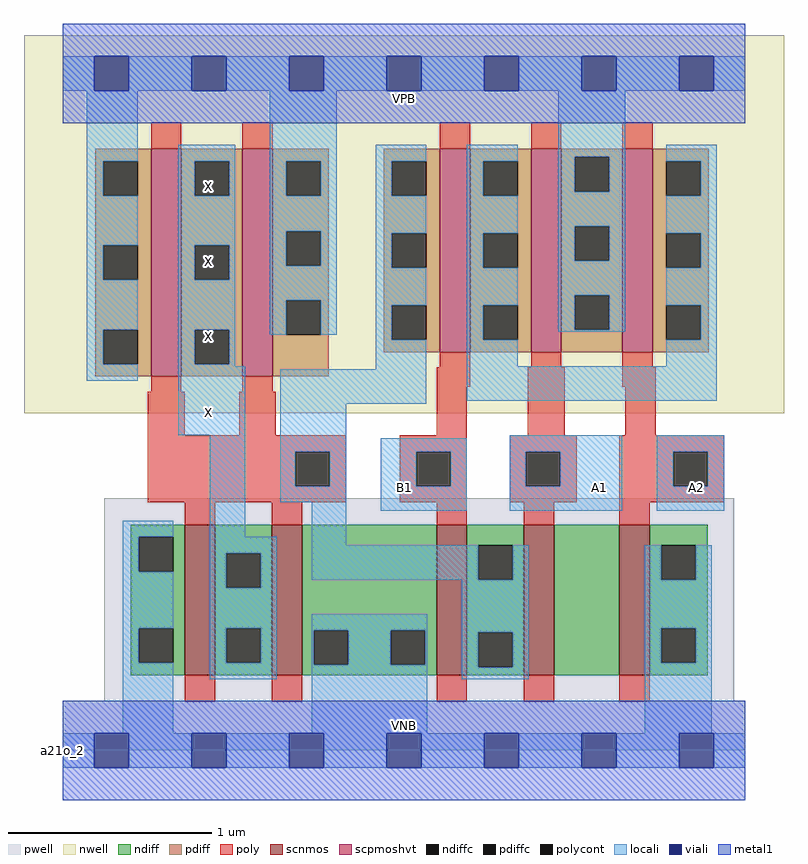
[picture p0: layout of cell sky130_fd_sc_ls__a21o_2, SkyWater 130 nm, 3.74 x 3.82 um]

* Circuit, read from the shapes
.subckt sky130_fd_sc_ls__a21o_2 A1 A2 B1 VGND VNB VPB VPWR X
XM1 X n1 VGND VNB sky130_fd_pr__nfet_01v8 w=0.74 l=0.15 m=2
XM2 n1 B1 VGND VNB sky130_fd_pr__nfet_01v8 w=0.74 l=0.15
XM3 n2 A1 n1 VNB sky130_fd_pr__nfet_01v8 w=0.74 l=0.15
XM4 VGND A2 n2 VNB sky130_fd_pr__nfet_01v8 w=0.74 l=0.15
XM5 X n1 VPWR VPB sky130_fd_pr__pfet_01v8_hvt w=1.12 l=0.15 m=2
XM6 n3 B1 n1 VPB sky130_fd_pr__pfet_01v8_hvt w=1 l=0.15
XM7 VPWR A1 n3 VPB sky130_fd_pr__pfet_01v8_hvt w=1 l=0.15
XM8 n3 A2 VPWR VPB sky130_fd_pr__pfet_01v8_hvt w=1 l=0.15
.ends

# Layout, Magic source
magic
tech sky130A
magscale 1 2
<< nwell >>
rect -38 332 710 704
<< pwell >>
rect 41 49 661 248
rect 0 0 672 49
<< scnmos >>
rect 120 74 150 222
rect 206 74 236 222
rect 368 74 398 222
rect 454 74 484 222
rect 548 74 578 222
<< scpmoshvt >>
rect 87 368 117 592
rect 177 368 207 592
rect 371 392 401 592
rect 461 392 491 592
rect 551 392 581 592
<< ndiff >>
rect 67 210 120 222
rect 67 176 75 210
rect 109 176 120 210
rect 67 120 120 176
rect 67 86 75 120
rect 109 86 120 120
rect 67 74 120 86
rect 150 194 206 222
rect 150 160 161 194
rect 195 160 206 194
rect 150 120 206 160
rect 150 86 161 120
rect 195 86 206 120
rect 150 74 206 86
rect 236 118 368 222
rect 236 84 247 118
rect 281 84 323 118
rect 357 84 368 118
rect 236 74 368 84
rect 398 202 454 222
rect 398 168 409 202
rect 443 168 454 202
rect 398 116 454 168
rect 398 82 409 116
rect 443 82 454 116
rect 398 74 454 82
rect 484 74 548 222
rect 578 202 635 222
rect 578 168 589 202
rect 623 168 635 202
rect 578 120 635 168
rect 578 86 589 120
rect 623 86 635 120
rect 578 74 635 86
<< pdiff >>
rect 32 580 87 592
rect 32 546 40 580
rect 74 546 87 580
rect 32 497 87 546
rect 32 463 40 497
rect 74 463 87 497
rect 32 414 87 463
rect 32 380 40 414
rect 74 380 87 414
rect 32 368 87 380
rect 117 580 177 592
rect 117 546 130 580
rect 164 546 177 580
rect 117 497 177 546
rect 117 463 130 497
rect 164 463 177 497
rect 117 414 177 463
rect 117 380 130 414
rect 164 380 177 414
rect 117 368 177 380
rect 207 580 262 592
rect 207 546 220 580
rect 254 546 262 580
rect 207 511 262 546
rect 207 477 220 511
rect 254 477 262 511
rect 207 443 262 477
rect 207 409 220 443
rect 254 409 262 443
rect 207 368 262 409
rect 316 580 371 592
rect 316 546 324 580
rect 358 546 371 580
rect 316 509 371 546
rect 316 475 324 509
rect 358 475 371 509
rect 316 438 371 475
rect 316 404 324 438
rect 358 404 371 438
rect 316 392 371 404
rect 401 580 461 592
rect 401 546 414 580
rect 448 546 461 580
rect 401 509 461 546
rect 401 475 414 509
rect 448 475 461 509
rect 401 438 461 475
rect 401 404 414 438
rect 448 404 461 438
rect 401 392 461 404
rect 491 584 551 592
rect 491 550 504 584
rect 538 550 551 584
rect 491 516 551 550
rect 491 482 504 516
rect 538 482 551 516
rect 491 448 551 482
rect 491 414 504 448
rect 538 414 551 448
rect 491 392 551 414
rect 581 580 636 592
rect 581 546 594 580
rect 628 546 636 580
rect 581 509 636 546
rect 581 475 594 509
rect 628 475 636 509
rect 581 438 636 475
rect 581 404 594 438
rect 628 404 636 438
rect 581 392 636 404
<< ndiffc >>
rect 75 176 109 210
rect 75 86 109 120
rect 161 160 195 194
rect 161 86 195 120
rect 247 84 281 118
rect 323 84 357 118
rect 409 168 443 202
rect 409 82 443 116
rect 589 168 623 202
rect 589 86 623 120
<< pdiffc >>
rect 40 546 74 580
rect 40 463 74 497
rect 40 380 74 414
rect 130 546 164 580
rect 130 463 164 497
rect 130 380 164 414
rect 220 546 254 580
rect 220 477 254 511
rect 220 409 254 443
rect 324 546 358 580
rect 324 475 358 509
rect 324 404 358 438
rect 414 546 448 580
rect 414 475 448 509
rect 414 404 448 438
rect 504 550 538 584
rect 504 482 538 516
rect 504 414 538 448
rect 594 546 628 580
rect 594 475 628 509
rect 594 404 628 438
<< poly >>
rect 87 592 117 618
rect 177 592 207 618
rect 371 592 401 618
rect 461 592 491 618
rect 551 592 581 618
rect 371 377 401 392
rect 461 377 491 392
rect 551 377 581 392
rect 87 353 117 368
rect 177 353 207 368
rect 368 358 401 377
rect 84 310 120 353
rect 174 310 210 353
rect 368 310 398 358
rect 458 310 494 377
rect 551 358 584 377
rect 554 310 584 358
rect 84 294 279 310
rect 84 260 229 294
rect 263 260 279 294
rect 84 244 279 260
rect 332 294 398 310
rect 332 260 348 294
rect 382 260 398 294
rect 332 244 398 260
rect 440 294 506 310
rect 440 260 456 294
rect 490 260 506 294
rect 440 244 506 260
rect 548 294 651 310
rect 548 260 601 294
rect 635 260 651 294
rect 548 244 651 260
rect 120 222 150 244
rect 206 222 236 244
rect 368 222 398 244
rect 454 222 484 244
rect 548 222 578 244
rect 120 48 150 74
rect 206 48 236 74
rect 368 48 398 74
rect 454 48 484 74
rect 548 48 578 74
<< polycont >>
rect 229 260 263 294
rect 348 260 382 294
rect 456 260 490 294
rect 601 260 635 294
<< locali >>
rect 0 649 31 683
rect 65 649 127 683
rect 161 649 223 683
rect 257 649 319 683
rect 353 649 415 683
rect 449 649 511 683
rect 545 649 607 683
rect 641 649 672 683
rect 24 580 74 649
rect 24 546 40 580
rect 24 497 74 546
rect 24 463 40 497
rect 24 414 74 463
rect 24 380 40 414
rect 24 364 74 380
rect 114 580 170 596
rect 114 546 130 580
rect 164 546 170 580
rect 114 497 170 546
rect 114 463 130 497
rect 164 463 170 497
rect 114 414 170 463
rect 114 380 130 414
rect 164 380 170 414
rect 204 580 270 649
rect 204 546 220 580
rect 254 546 270 580
rect 204 511 270 546
rect 204 477 220 511
rect 254 477 270 511
rect 204 443 270 477
rect 204 409 220 443
rect 254 409 270 443
rect 308 580 358 596
rect 308 546 324 580
rect 308 509 358 546
rect 308 475 324 509
rect 308 438 358 475
rect 114 378 170 380
rect 308 404 324 438
rect 114 310 180 378
rect 308 375 358 404
rect 59 210 109 226
rect 59 176 75 210
rect 59 120 109 176
rect 59 86 75 120
rect 59 17 109 86
rect 145 210 180 310
rect 214 341 358 375
rect 398 580 448 596
rect 398 546 414 580
rect 398 509 448 546
rect 398 475 414 509
rect 398 438 448 475
rect 398 404 414 438
rect 488 584 554 649
rect 488 550 504 584
rect 538 550 554 584
rect 488 516 554 550
rect 488 482 504 516
rect 538 482 554 516
rect 488 448 554 482
rect 488 414 504 448
rect 538 414 554 448
rect 488 412 554 414
rect 594 580 644 596
rect 628 546 644 580
rect 594 509 644 546
rect 628 475 644 509
rect 594 438 644 475
rect 398 378 448 404
rect 628 404 644 438
rect 594 378 644 404
rect 398 344 644 378
rect 214 294 279 341
rect 214 260 229 294
rect 263 260 279 294
rect 214 244 279 260
rect 145 194 211 210
rect 145 160 161 194
rect 195 160 211 194
rect 245 202 279 244
rect 313 294 398 307
rect 313 260 348 294
rect 382 260 398 294
rect 313 236 398 260
rect 440 294 551 310
rect 440 260 456 294
rect 490 260 551 294
rect 440 236 551 260
rect 585 294 651 310
rect 585 260 601 294
rect 635 260 651 294
rect 585 236 651 260
rect 245 168 409 202
rect 443 168 459 202
rect 145 120 211 160
rect 145 86 161 120
rect 195 86 211 120
rect 145 70 211 86
rect 245 118 359 134
rect 245 84 247 118
rect 281 84 323 118
rect 357 84 359 118
rect 245 17 359 84
rect 393 116 459 168
rect 393 82 409 116
rect 443 82 459 116
rect 393 70 459 82
rect 573 168 589 202
rect 623 168 639 202
rect 573 120 639 168
rect 573 86 589 120
rect 623 86 639 120
rect 573 17 639 86
rect 0 -17 31 17
rect 65 -17 127 17
rect 161 -17 223 17
rect 257 -17 319 17
rect 353 -17 415 17
rect 449 -17 511 17
rect 545 -17 607 17
rect 641 -17 672 17
<< viali >>
rect 31 649 65 683
rect 127 649 161 683
rect 223 649 257 683
rect 319 649 353 683
rect 415 649 449 683
rect 511 649 545 683
rect 607 649 641 683
rect 31 -17 65 17
rect 127 -17 161 17
rect 223 -17 257 17
rect 319 -17 353 17
rect 415 -17 449 17
rect 511 -17 545 17
rect 607 -17 641 17
<< metal1 >>
rect 0 683 672 715
rect 0 649 31 683
rect 65 649 127 683
rect 161 649 223 683
rect 257 649 319 683
rect 353 649 415 683
rect 449 649 511 683
rect 545 649 607 683
rect 641 649 672 683
rect 0 617 672 649
rect 0 17 672 49
rect 0 -17 31 17
rect 65 -17 127 17
rect 161 -17 223 17
rect 257 -17 319 17
rect 353 -17 415 17
rect 449 -17 511 17
rect 545 -17 607 17
rect 641 -17 672 17
rect 0 -49 672 -17
<< labels >>
rlabel comment s 0 0 0 0 4 a21o_2
flabel pwell s 0 0 672 49 0 FreeSans 200 0 0 0 VNB
port 5 nsew ground bidirectional
flabel nwell s 0 617 672 666 0 FreeSans 200 0 0 0 VPB
port 6 nsew power bidirectional
flabel metal1 s 0 617 672 666 0 FreeSans 340 0 0 0 VPWR
port 7 nsew power bidirectional abutment
flabel metal1 s 0 0 672 49 0 FreeSans 340 0 0 0 VGND
port 4 nsew ground bidirectional abutment
flabel locali s 319 242 353 276 0 FreeSans 340 0 0 0 B1
port 3 nsew signal input
flabel locali s 607 242 641 276 0 FreeSans 340 0 0 0 A2
port 2 nsew signal input
flabel locali s 511 242 545 276 0 FreeSans 340 0 0 0 A1
port 1 nsew signal input
flabel locali s 127 316 161 350 0 FreeSans 340 0 0 0 X
port 8 nsew signal output
flabel locali s 127 390 161 424 0 FreeSans 340 0 0 0 X
port 8 nsew signal output
flabel locali s 127 464 161 498 0 FreeSans 340 0 0 0 X
port 8 nsew signal output
flabel locali s 127 538 161 572 0 FreeSans 340 0 0 0 X
port 8 nsew signal output
<< properties >>
string LEFsite unit
string LEFclass CORE
string FIXED_BBOX 0 0 672 666
string GDS_FILE $PDKPATH/libs.ref/sky130_fd_sc_ls/gds/sky130_fd_sc_ls.gds
string LEFsymmetry X Y
string GDS_END 994652
string GDS_START 987710
<< end >>
